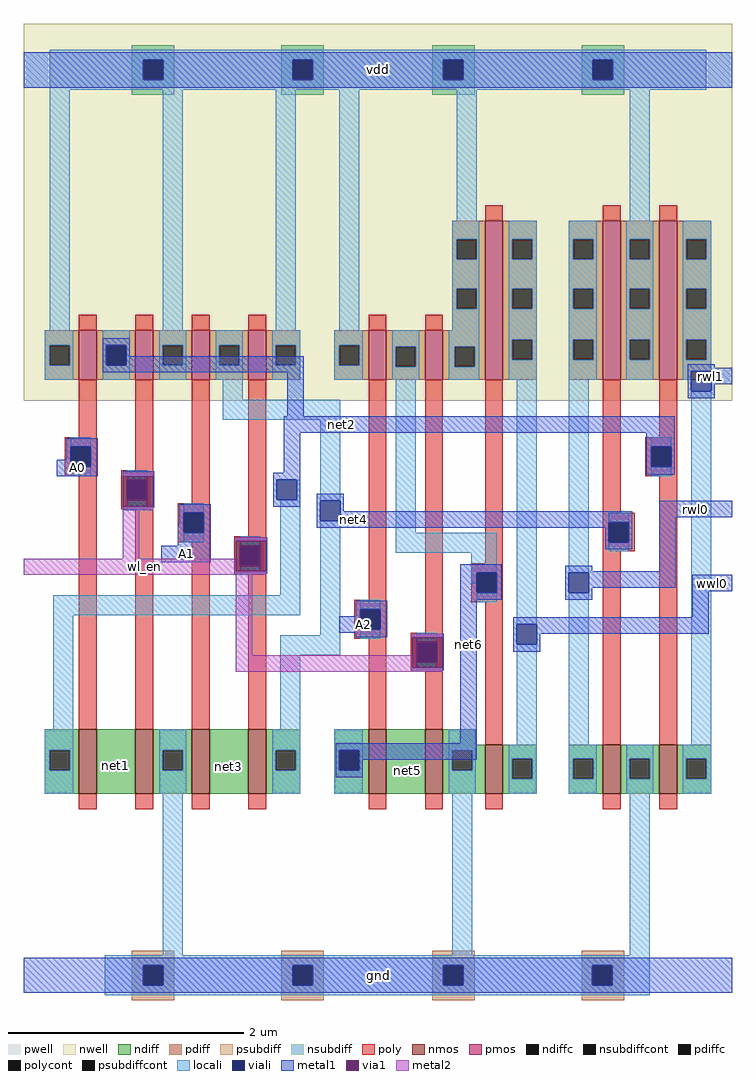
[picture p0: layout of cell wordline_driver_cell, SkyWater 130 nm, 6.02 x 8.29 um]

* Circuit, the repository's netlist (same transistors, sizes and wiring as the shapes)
* SPICE3 file created from wordline_driver_cell.ext - technology: sky130A



.subckt wordline_driver_cell A0 A1 A2 wl_en rwl0 rwl1 wwl0 vdd gnd
X0 vdd net4 rwl0 vdd sky130_fd_pr__pfet_01v8 ad=0 pd=0 as=0 ps=0 w=1.35 l=0.15
X1 net5 A2 net6 gnd sky130_fd_pr__nfet_01v8 ad=0 pd=0 as=0 ps=0 w=0.55 l=0.15
X2 vdd wl_en net2 vdd sky130_fd_pr__pfet_01v8 ad=0 pd=0 as=0 ps=0 w=0.42 l=0.15
X3 gnd net4 rwl0 gnd sky130_fd_pr__nfet_01v8 ad=0 pd=0 as=0 ps=0 w=0.42 l=0.15
X4 wwl0 net6 vdd vdd sky130_fd_pr__pfet_01v8 ad=0 pd=0 as=0 ps=0 w=1.35 l=0.15
X5 gnd wl_en net1 gnd sky130_fd_pr__nfet_01v8 ad=0 pd=0 as=0 ps=0 w=0.55 l=0.15
X6 net4 A1 vdd vdd sky130_fd_pr__pfet_01v8 ad=0 pd=0 as=0 ps=0 w=0.42 l=0.15
X7 vdd wl_en net6 vdd sky130_fd_pr__pfet_01v8 ad=0 pd=0 as=0 ps=0 w=0.42 l=0.15
X8 wwl0 net6 gnd gnd sky130_fd_pr__nfet_01v8 ad=0 pd=0 as=0 ps=0 w=0.42 l=0.15
X9 net3 A1 gnd gnd sky130_fd_pr__nfet_01v8 ad=0 pd=0 as=0 ps=0 w=0.55 l=0.15
X10 gnd wl_en net5 gnd sky130_fd_pr__nfet_01v8 ad=0 pd=0 as=0 ps=0 w=0.55 l=0.15
X11 rwl1 net2 vdd vdd sky130_fd_pr__pfet_01v8 ad=0 pd=0 as=0 ps=0 w=1.35 l=0.15
X12 net2 A0 vdd vdd sky130_fd_pr__pfet_01v8 ad=0 pd=0 as=0 ps=0 w=0.42 l=0.15
X13 vdd wl_en net4 vdd sky130_fd_pr__pfet_01v8 ad=0 pd=0 as=0 ps=0 w=0.42 l=0.15
X14 net6 A2 vdd vdd sky130_fd_pr__pfet_01v8 ad=0 pd=0 as=0 ps=0 w=0.42 l=0.15
X15 rwl1 net2 gnd gnd sky130_fd_pr__nfet_01v8 ad=0 pd=0 as=0 ps=0 w=0.42 l=0.15
X16 net1 A0 net2 gnd sky130_fd_pr__nfet_01v8 ad=0 pd=0 as=0 ps=0 w=0.55 l=0.15
X17 net4 wl_en net3 gnd sky130_fd_pr__nfet_01v8 ad=0 pd=0 as=0 ps=0 w=0.55 l=0.15
.ends

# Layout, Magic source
magic
tech sky130A
magscale 1 2
<< nwell >>
rect 0 976 1204 1616
<< pwell >>
rect 184 -42 256 42
rect 438 -42 510 42
rect 694 -42 766 42
rect 948 -42 1020 42
<< nmos >>
rect 94 308 124 418
rect 190 308 220 418
rect 286 308 316 418
rect 382 308 412 418
rect 586 308 616 418
rect 682 308 712 418
rect 784 308 814 392
rect 984 308 1014 392
rect 1080 308 1110 392
<< pmos >>
rect 94 1012 124 1096
rect 190 1012 220 1096
rect 286 1012 316 1096
rect 382 1012 412 1096
rect 586 1012 616 1096
rect 682 1012 712 1096
rect 784 1012 814 1282
rect 984 1012 1014 1282
rect 1080 1012 1110 1282
<< ndiff >>
rect 36 382 94 418
rect 36 348 44 382
rect 78 348 94 382
rect 36 308 94 348
rect 124 308 190 418
rect 220 382 286 418
rect 220 348 236 382
rect 270 348 286 382
rect 220 308 286 348
rect 316 308 382 418
rect 412 382 470 418
rect 412 348 428 382
rect 462 348 470 382
rect 412 308 470 348
rect 528 382 586 418
rect 528 348 536 382
rect 570 348 586 382
rect 528 308 586 348
rect 616 308 682 418
rect 712 392 768 418
rect 712 382 784 392
rect 712 348 728 382
rect 762 348 784 382
rect 712 308 784 348
rect 814 368 872 392
rect 814 334 830 368
rect 864 334 872 368
rect 814 308 872 334
rect 926 368 984 392
rect 926 334 934 368
rect 968 334 984 368
rect 926 308 984 334
rect 1014 368 1080 392
rect 1014 334 1030 368
rect 1064 334 1080 368
rect 1014 308 1080 334
rect 1110 368 1168 392
rect 1110 334 1126 368
rect 1160 334 1168 368
rect 1110 308 1168 334
<< pdiff >>
rect 728 1250 784 1282
rect 728 1216 736 1250
rect 770 1216 784 1250
rect 728 1166 784 1216
rect 728 1132 736 1166
rect 770 1132 784 1166
rect 728 1096 784 1132
rect 36 1070 94 1096
rect 36 1036 44 1070
rect 78 1036 94 1070
rect 36 1012 94 1036
rect 124 1070 190 1096
rect 124 1036 140 1070
rect 174 1036 190 1070
rect 124 1012 190 1036
rect 220 1070 286 1096
rect 220 1036 236 1070
rect 270 1036 286 1070
rect 220 1012 286 1036
rect 316 1070 382 1096
rect 316 1036 332 1070
rect 366 1036 382 1070
rect 316 1012 382 1036
rect 412 1070 470 1096
rect 412 1036 428 1070
rect 462 1036 470 1070
rect 412 1012 470 1036
rect 528 1070 586 1096
rect 528 1036 536 1070
rect 570 1036 586 1070
rect 528 1012 586 1036
rect 616 1068 682 1096
rect 616 1034 632 1068
rect 666 1034 682 1068
rect 616 1012 682 1034
rect 712 1068 784 1096
rect 712 1034 732 1068
rect 766 1034 784 1068
rect 712 1012 784 1034
rect 814 1250 872 1282
rect 814 1216 830 1250
rect 864 1216 872 1250
rect 814 1166 872 1216
rect 814 1132 830 1166
rect 864 1132 872 1166
rect 814 1080 872 1132
rect 814 1046 830 1080
rect 864 1046 872 1080
rect 814 1012 872 1046
rect 926 1250 984 1282
rect 926 1216 934 1250
rect 968 1216 984 1250
rect 926 1166 984 1216
rect 926 1132 934 1166
rect 968 1132 984 1166
rect 926 1080 984 1132
rect 926 1046 934 1080
rect 968 1046 984 1080
rect 926 1012 984 1046
rect 1014 1250 1080 1282
rect 1014 1216 1030 1250
rect 1064 1216 1080 1250
rect 1014 1166 1080 1216
rect 1014 1132 1030 1166
rect 1064 1132 1080 1166
rect 1014 1080 1080 1132
rect 1014 1046 1030 1080
rect 1064 1046 1080 1080
rect 1014 1012 1080 1046
rect 1110 1250 1168 1282
rect 1110 1216 1126 1250
rect 1160 1216 1168 1250
rect 1110 1166 1168 1216
rect 1110 1132 1126 1166
rect 1160 1132 1168 1166
rect 1110 1080 1168 1132
rect 1110 1046 1126 1080
rect 1160 1046 1168 1080
rect 1110 1012 1168 1046
<< ndiffc >>
rect 44 348 78 382
rect 236 348 270 382
rect 428 348 462 382
rect 536 348 570 382
rect 728 348 762 382
rect 830 334 864 368
rect 934 334 968 368
rect 1030 334 1064 368
rect 1126 334 1160 368
<< pdiffc >>
rect 736 1216 770 1250
rect 736 1132 770 1166
rect 44 1036 78 1070
rect 140 1036 174 1070
rect 236 1036 270 1070
rect 332 1036 366 1070
rect 428 1036 462 1070
rect 536 1036 570 1070
rect 632 1034 666 1068
rect 732 1034 766 1068
rect 830 1216 864 1250
rect 830 1132 864 1166
rect 830 1046 864 1080
rect 934 1216 968 1250
rect 934 1132 968 1166
rect 934 1046 968 1080
rect 1030 1216 1064 1250
rect 1030 1132 1064 1166
rect 1030 1046 1064 1080
rect 1126 1216 1160 1250
rect 1126 1132 1160 1166
rect 1126 1046 1160 1080
<< psubdiff >>
rect 184 17 256 42
rect 184 -17 203 17
rect 237 -17 256 17
rect 184 -42 256 -17
rect 438 17 510 42
rect 438 -17 457 17
rect 491 -17 510 17
rect 438 -42 510 -17
rect 694 17 766 42
rect 694 -17 713 17
rect 747 -17 766 17
rect 694 -42 766 -17
rect 948 17 1020 42
rect 948 -17 966 17
rect 1000 -17 1020 17
rect 948 -42 1020 -17
<< nsubdiff >>
rect 184 1555 256 1580
rect 184 1521 203 1555
rect 237 1521 256 1555
rect 184 1496 256 1521
rect 438 1555 510 1580
rect 438 1521 457 1555
rect 491 1521 510 1555
rect 438 1496 510 1521
rect 694 1555 766 1580
rect 694 1521 713 1555
rect 747 1521 766 1555
rect 694 1496 766 1521
rect 948 1555 1020 1580
rect 948 1521 967 1555
rect 1001 1521 1020 1555
rect 948 1496 1020 1521
<< psubdiffcont >>
rect 203 -17 237 17
rect 457 -17 491 17
rect 713 -17 747 17
rect 966 -17 1000 17
<< nsubdiffcont >>
rect 203 1521 237 1555
rect 457 1521 491 1555
rect 713 1521 747 1555
rect 967 1521 1001 1555
<< poly >>
rect 784 1282 814 1308
rect 984 1282 1014 1308
rect 1080 1282 1110 1308
rect 94 1096 124 1122
rect 190 1096 220 1122
rect 286 1096 316 1122
rect 382 1096 412 1122
rect 586 1096 616 1122
rect 682 1096 712 1122
rect 94 914 124 1012
rect 70 898 124 914
rect 70 864 80 898
rect 114 864 124 898
rect 70 848 124 864
rect 190 858 220 1012
rect 94 418 124 848
rect 166 842 220 858
rect 166 808 176 842
rect 210 808 220 842
rect 166 792 220 808
rect 286 802 316 1012
rect 190 418 220 792
rect 262 786 316 802
rect 262 752 272 786
rect 306 752 316 786
rect 262 736 316 752
rect 382 746 412 1012
rect 286 418 316 736
rect 358 730 412 746
rect 358 696 368 730
rect 402 696 412 730
rect 358 680 412 696
rect 382 418 412 680
rect 586 638 616 1012
rect 562 622 616 638
rect 562 588 572 622
rect 606 588 616 622
rect 562 572 616 588
rect 682 582 712 1012
rect 784 700 814 1012
rect 760 684 814 700
rect 760 650 770 684
rect 804 650 814 684
rect 760 634 814 650
rect 586 418 616 572
rect 658 566 712 582
rect 658 532 668 566
rect 702 532 712 566
rect 658 516 712 532
rect 682 418 712 516
rect 784 392 814 634
rect 984 786 1014 1012
rect 1080 914 1110 1012
rect 1056 898 1110 914
rect 1056 864 1066 898
rect 1100 864 1110 898
rect 1056 848 1110 864
rect 984 770 1038 786
rect 984 736 994 770
rect 1028 736 1038 770
rect 984 720 1038 736
rect 984 392 1014 720
rect 1080 392 1110 848
rect 94 282 124 308
rect 190 282 220 308
rect 286 282 316 308
rect 382 282 412 308
rect 586 282 616 308
rect 682 282 712 308
rect 784 282 814 308
rect 984 282 1014 308
rect 1080 282 1110 308
<< polycont >>
rect 80 864 114 898
rect 176 808 210 842
rect 272 752 306 786
rect 368 696 402 730
rect 572 588 606 622
rect 770 650 804 684
rect 668 532 702 566
rect 1066 864 1100 898
rect 994 736 1028 770
<< locali >>
rect 44 1555 1160 1572
rect 44 1521 203 1555
rect 237 1521 457 1555
rect 491 1521 713 1555
rect 747 1521 967 1555
rect 1001 1521 1160 1555
rect 44 1504 1160 1521
rect 44 1096 78 1504
rect 236 1096 270 1504
rect 428 1096 462 1504
rect 536 1096 570 1504
rect 736 1282 770 1504
rect 1030 1282 1064 1504
rect 728 1250 774 1282
rect 728 1216 736 1250
rect 770 1216 774 1250
rect 728 1166 774 1216
rect 728 1132 736 1166
rect 770 1132 774 1166
rect 728 1096 774 1132
rect 36 1070 84 1096
rect 36 1036 44 1070
rect 78 1036 84 1070
rect 36 1012 84 1036
rect 134 1070 180 1096
rect 134 1036 140 1070
rect 174 1036 180 1070
rect 134 1012 180 1036
rect 230 1070 276 1096
rect 230 1036 236 1070
rect 270 1036 276 1070
rect 230 1012 276 1036
rect 326 1070 372 1096
rect 326 1036 332 1070
rect 366 1036 372 1070
rect 326 1012 372 1036
rect 422 1070 470 1096
rect 422 1036 428 1070
rect 462 1036 470 1070
rect 422 1012 470 1036
rect 528 1070 576 1096
rect 528 1036 536 1070
rect 570 1036 576 1070
rect 528 1012 576 1036
rect 626 1068 672 1096
rect 626 1034 632 1068
rect 666 1034 672 1068
rect 626 1012 672 1034
rect 722 1068 774 1096
rect 722 1034 732 1068
rect 766 1034 774 1068
rect 722 1012 774 1034
rect 824 1250 872 1282
rect 824 1216 830 1250
rect 864 1216 872 1250
rect 824 1166 872 1216
rect 824 1132 830 1166
rect 864 1132 872 1166
rect 824 1080 872 1132
rect 824 1046 830 1080
rect 864 1046 872 1080
rect 824 1012 872 1046
rect 338 978 372 1012
rect 338 944 538 978
rect 80 898 114 914
rect 80 848 114 864
rect 176 842 210 858
rect 464 808 470 842
rect 176 792 210 808
rect 272 786 306 802
rect 272 736 306 752
rect 368 730 402 746
rect 368 680 402 696
rect 436 646 470 808
rect 50 612 470 646
rect 504 806 538 944
rect 50 418 84 612
rect 504 578 538 772
rect 632 752 666 1012
rect 632 718 804 752
rect 760 684 804 718
rect 760 666 770 684
rect 436 544 538 578
rect 572 622 606 638
rect 770 634 804 650
rect 572 572 606 588
rect 838 596 872 1012
rect 668 566 702 582
rect 436 418 470 544
rect 668 516 702 532
rect 36 382 84 418
rect 36 348 44 382
rect 78 348 84 382
rect 36 308 84 348
rect 230 382 276 418
rect 230 348 236 382
rect 270 348 276 382
rect 230 308 276 348
rect 422 382 470 418
rect 422 348 428 382
rect 462 348 470 382
rect 422 308 470 348
rect 528 382 576 418
rect 528 348 536 382
rect 570 348 576 382
rect 528 308 576 348
rect 722 382 768 418
rect 838 392 872 562
rect 722 348 728 382
rect 762 348 768 382
rect 722 308 768 348
rect 824 368 872 392
rect 824 334 830 368
rect 864 334 872 368
rect 824 308 872 334
rect 926 1250 974 1282
rect 926 1216 934 1250
rect 968 1216 974 1250
rect 926 1166 974 1216
rect 926 1132 934 1166
rect 968 1132 974 1166
rect 926 1080 974 1132
rect 926 1046 934 1080
rect 968 1046 974 1080
rect 926 1012 974 1046
rect 1024 1250 1070 1282
rect 1024 1216 1030 1250
rect 1064 1216 1070 1250
rect 1024 1166 1070 1216
rect 1024 1132 1030 1166
rect 1064 1132 1070 1166
rect 1024 1080 1070 1132
rect 1024 1046 1030 1080
rect 1064 1046 1070 1080
rect 1024 1012 1070 1046
rect 1120 1250 1168 1282
rect 1120 1216 1126 1250
rect 1160 1216 1168 1250
rect 1120 1166 1168 1216
rect 1120 1132 1126 1166
rect 1160 1132 1168 1166
rect 1120 1080 1168 1132
rect 1120 1046 1126 1080
rect 1160 1046 1168 1080
rect 1120 1026 1168 1046
rect 1120 1012 1134 1026
rect 926 684 960 1012
rect 1066 898 1100 914
rect 1066 848 1100 864
rect 994 770 1028 786
rect 994 720 1028 736
rect 926 392 960 650
rect 1134 392 1168 992
rect 926 368 974 392
rect 926 334 934 368
rect 968 334 974 368
rect 926 308 974 334
rect 1024 368 1070 392
rect 1024 334 1030 368
rect 1064 334 1070 368
rect 1024 308 1070 334
rect 1120 368 1168 392
rect 1120 334 1126 368
rect 1160 334 1168 368
rect 1120 308 1168 334
rect 236 34 270 308
rect 728 34 762 308
rect 1030 34 1064 308
rect 138 17 1064 34
rect 138 -17 203 17
rect 237 -17 457 17
rect 491 -17 713 17
rect 747 -17 966 17
rect 1000 -17 1064 17
rect 138 -34 1064 -17
<< viali >>
rect 203 1521 237 1555
rect 457 1521 491 1555
rect 713 1521 747 1555
rect 967 1521 1001 1555
rect 140 1036 174 1070
rect 80 864 114 898
rect 176 808 210 842
rect 430 808 464 842
rect 272 752 306 786
rect 368 696 402 730
rect 504 772 538 806
rect 770 650 804 684
rect 572 588 606 622
rect 668 532 702 566
rect 838 562 872 596
rect 536 348 570 382
rect 1134 992 1168 1026
rect 1066 864 1100 898
rect 994 736 1028 770
rect 926 650 960 684
rect 203 -17 237 17
rect 457 -17 491 17
rect 713 -17 747 17
rect 966 -17 1000 17
<< metal1 >>
rect 0 1555 1204 1568
rect 0 1521 203 1555
rect 237 1521 457 1555
rect 491 1521 713 1555
rect 747 1521 967 1555
rect 1001 1521 1204 1555
rect 0 1508 1204 1521
rect 134 1070 180 1082
rect 134 1036 140 1070
rect 174 1052 180 1070
rect 174 1036 476 1052
rect 134 1024 476 1036
rect 448 950 476 1024
rect 1128 1032 1174 1038
rect 1128 1026 1204 1032
rect 1128 992 1134 1026
rect 1168 1004 1204 1026
rect 1168 992 1174 1004
rect 1128 980 1174 992
rect 442 922 1106 950
rect 72 898 126 912
rect 72 876 80 898
rect 56 864 80 876
rect 114 864 126 898
rect 56 848 126 864
rect 168 848 222 856
rect 442 854 470 922
rect 220 796 222 848
rect 424 842 470 854
rect 1058 898 1106 922
rect 1058 864 1066 898
rect 1100 864 1106 898
rect 1058 850 1106 864
rect 424 808 430 842
rect 464 808 470 842
rect 168 794 222 796
rect 168 790 220 794
rect 264 786 318 800
rect 424 796 470 808
rect 498 806 544 818
rect 264 766 272 786
rect 262 752 272 766
rect 306 752 318 786
rect 498 772 504 806
rect 538 788 544 806
rect 538 772 1034 788
rect 498 770 1034 772
rect 498 760 994 770
rect 262 730 318 752
rect 234 702 318 730
rect 360 738 414 744
rect 412 686 414 738
rect 988 736 994 760
rect 1028 736 1034 770
rect 988 724 1034 736
rect 1080 778 1204 806
rect 360 682 414 686
rect 742 684 812 698
rect 360 680 412 682
rect 742 650 770 684
rect 804 650 812 684
rect 742 638 812 650
rect 920 686 966 696
rect 1080 686 1108 778
rect 920 684 1108 686
rect 920 650 926 684
rect 960 658 1108 684
rect 960 650 966 658
rect 920 638 966 650
rect 1136 652 1204 680
rect 564 622 618 636
rect 564 610 572 622
rect 536 588 572 610
rect 606 588 618 622
rect 536 582 618 588
rect 564 574 618 582
rect 660 574 714 580
rect 712 522 714 574
rect 660 518 714 522
rect 660 516 712 518
rect 742 394 770 638
rect 1136 608 1164 652
rect 832 596 1164 608
rect 832 562 838 596
rect 872 580 1164 596
rect 872 562 878 580
rect 832 550 878 562
rect 530 382 770 394
rect 530 348 536 382
rect 570 366 770 382
rect 570 348 576 366
rect 530 336 576 348
rect 0 17 1204 30
rect 0 -17 203 17
rect 237 -17 457 17
rect 491 -17 713 17
rect 747 -17 966 17
rect 1000 -17 1204 17
rect 0 -30 1204 -17
<< via1 >>
rect 168 842 220 848
rect 168 808 176 842
rect 176 808 210 842
rect 210 808 220 842
rect 168 796 220 808
rect 360 730 412 738
rect 360 696 368 730
rect 368 696 402 730
rect 402 696 412 730
rect 360 686 412 696
rect 660 566 712 574
rect 660 532 668 566
rect 668 532 702 566
rect 702 532 712 566
rect 660 522 712 532
<< metal2 >>
rect 168 848 220 854
rect 168 790 220 796
rect 168 708 196 790
rect 360 738 412 744
rect 0 686 360 708
rect 0 680 412 686
rect 360 544 388 680
rect 660 574 712 580
rect 360 522 660 544
rect 360 516 712 522
<< labels >>
rlabel mvpsubdiff s 156 356 156 356 4 net1
rlabel mvpsubdiff s 348 354 348 354 4 net3
rlabel mvpsubdiff s 652 348 652 348 4 net5
rlabel metal1 s 756 562 756 562 4 net6
rlabel metal1 s 540 936 540 936 4 net2
rlabel metal1 s 560 774 560 774 4 net4
rlabel metal1 s 56 848 126 876 4 A0
port 1 nsew
rlabel metal1 s 0 1508 1204 1568 4 vdd
port 2 nsew
rlabel metal1 s 0 -30 1204 30 4 gnd
port 3 nsew
rlabel metal2 s 0 680 412 708 4 wl_en
port 4 nsew
rlabel metal1 s 234 702 318 730 4 A1
port 5 nsew
rlabel metal1 s 536 582 618 610 4 A2
port 6 nsew
rlabel metal1 s 1080 778 1204 806 4 rwl0
port 7 nsew
rlabel metal1 s 1136 652 1204 680 4 wwl0
port 8 nsew
rlabel metal1 s 1128 1004 1204 1032 4 rwl1
port 9 nsew
rlabel metal1 s 91 862 91 862 4 A0
rlabel metal1 s 276 716 276 716 4 A1
rlabel metal1 s 577 596 577 596 4 A2
rlabel metal2 s 206 694 206 694 4 wl_en
rlabel metal1 s 1142 792 1142 792 4 rwl0
rlabel metal1 s 1166 1018 1166 1018 4 rwl1
rlabel metal1 s 1170 666 1170 666 4 wwl0
rlabel metal1 s 602 1538 602 1538 4 vdd
rlabel metal1 s 602 0 602 0 4 gnd
<< properties >>
string FIXED_BBOX 0 0 1204 1538
string GDS_FILE sram_0rw2r1w_32_128_sky130A.gds
string GDS_END 3256020
string GDS_START 3236776
<< end >>
